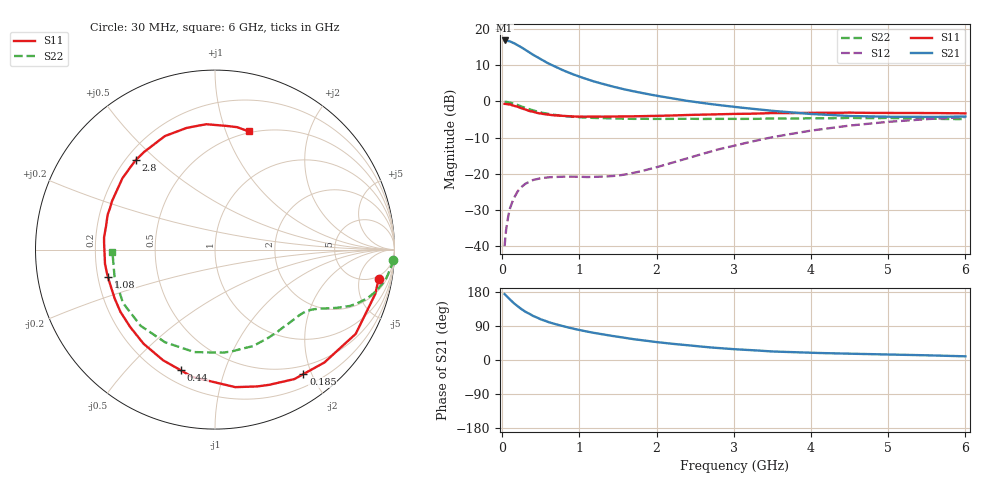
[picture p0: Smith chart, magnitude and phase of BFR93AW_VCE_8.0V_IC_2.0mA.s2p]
! Infineon Technologies  Discrete & RF Semiconductors
! BFR93AW
! VCE =  8.0 V,  IC =  2.0 mA
! Common Emitter S-Parameters:  Nov 2015
# GHz  S  MA  R  50
!  f  S11  S21  S12  S22
! GHz  MAG  ANG  MAG  ANG  MAG  ANG  MAG  ANG
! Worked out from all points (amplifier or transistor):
!   206 points, 30 MHz to 6 GHz, reference 50 ohm
!   highest |S21| = 16.9 dB at 30 MHz (marker M1)
!   |S21| within 3 dB of that: start of sweep to 328.6 MHz
!   unconditionally stable (mu >= 1): 1.234 GHz to 2.262 GHz
!   at 200 MHz: K = 0.16, MSG = 20.3 dB, |S12| = -24.9 dB
!   at 1.56 GHz: K = 1.15, MAG = 9.6 dB, |S12| = -20.3 dB
!   at 6 GHz: K = 0.98, MSG = 0.1 dB, |S12| = -4.3 dB
!   S11 on the Smith chart (normalised r, x): 30 MHz: 4, -9; 185 MHz: 0.37, -1.88; 440 MHz: 0.27, -0.72; 1.08 GHz: 0.24, -0.12; 2.8 GHz: 0.24, +0.43; 6 GHz: 0.49, +1.21
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0.03  0.9262 -10.3  7.002 173.9  0.0099 83.1  0.9931 -3.2
0.055  0.9223 -17.0  6.936 168.6  0.0184 79.3  0.9855 -5.6
0.1  0.9138 -30.9  6.803 159.7  0.0332 73.1  0.9655 -10.0
0.15  0.8759 -45.9  6.443 149.9  0.0456 66.1  0.9301 -14.2
0.185  0.8506 -54.6  6.147 144.2  0.0535 61.0  0.9027 -16.6
0.24  0.8115 -68.2  5.683 135.5  0.0639 54.8  0.8585 -19.9
0.3  0.7746 -81.6  5.193 127.3  0.0726 49.2  0.8145 -22.7
0.4  0.7207 -100.0  4.43 116.1  0.0818 42.5  0.7513 -25.6
0.44  0.6991 -105.8  4.186 112.9  0.0836 40.7  0.732 -26.4
0.5  0.6811 -115.1  3.848 107.2  0.0865 38.3  0.7033 -27.7
0.6  0.6584 -127.2  3.352 99.9  0.0891 35.1  0.6711 -29.3
0.7  0.6397 -137.6  2.982 93.9  0.0904 34.3  0.6473 -30.8
0.9  0.6217 -154.1  2.415 83.5  0.0907 34.5  0.6151 -33.9
1.04  0.6154 -163.4  2.133 77.5  0.0903 36.5  0.601 -36.5
1.08  0.6157 -165.9  2.063 75.8  0.09 37.1  0.5974 -37.4
1.5  0.6219 173.7  1.541 61.1  0.094 50.3  0.5805 -45.9
2.02  0.6343 154.1  1.191 46.8  0.1244 66.7  0.5743 -58.9
2.8  0.6662 131.3  0.894 31.5  0.2169 73.6  0.5746 -80.2
3.1  0.6738 123.4  0.821 27.5  0.2582 71.6  0.5737 -88.6
4.1  0.6956 101.3  0.663 18.5  0.4079 59.2  0.5841 -121.5
5.1  0.6922 85.0  0.614 14.2  0.5308 43.1  0.5869 -152.8
6  0.6846 74.0  0.619 9.7  0.6092 29.7  0.5716 -178.5
